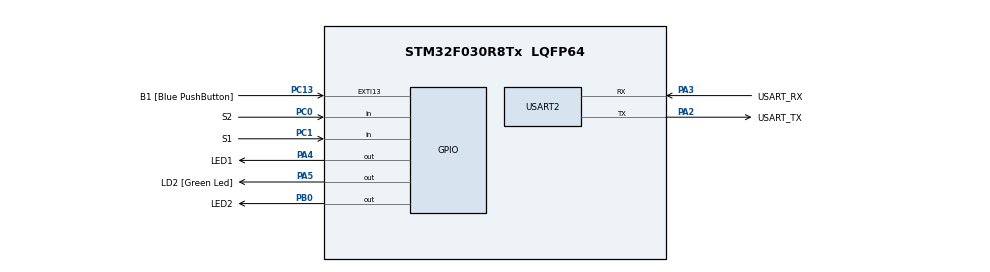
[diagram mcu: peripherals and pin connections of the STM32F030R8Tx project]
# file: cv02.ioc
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Mcu.Family=STM32F0
Mcu.Name=STM32F030R8Tx
Mcu.Package=LQFP64
PA13.GPIO_Label=TMS
PA13.Mode=Serial_Wire
PA13.Signal=SYS_SWDIO
PA14.GPIO_Label=TCK
PA14.Mode=Serial_Wire
PA14.Signal=SYS_SWCLK
PA2.GPIO_Label=USART_TX
PA2.GPIO_Mode=GPIO_MODE_AF_PP
PA2.GPIO_PuPd=GPIO_NOPULL
PA2.GPIO_Speed=GPIO_SPEED_FREQ_LOW
PA2.Mode=Asynchronous
PA2.Signal=USART2_TX
PA3.GPIO_Label=USART_RX
PA3.GPIO_Mode=GPIO_MODE_AF_PP
PA3.GPIO_PuPd=GPIO_NOPULL
PA3.GPIO_Speed=GPIO_SPEED_FREQ_LOW
PA3.Mode=Asynchronous
PA3.Signal=USART2_RX
PA4.GPIO_Label=LED1
PA4.Signal=GPIO_Output
PA5.GPIO_Label=LD2 [Green Led]
PA5.GPIO_Mode=GPIO_MODE_OUTPUT_PP
PA5.GPIO_PuPd=GPIO_NOPULL
PA5.GPIO_Speed=GPIO_SPEED_FREQ_LOW
PA5.Signal=GPIO_Output
PB0.GPIO_Label=LED2
PB0.Signal=GPIO_Output
PC0.GPIO_Label=S2
PC0.GPIO_PuPd=GPIO_PULLUP
PC0.Signal=GPIO_Input
PC1.GPIO_Label=S1
PC1.GPIO_PuPd=GPIO_PULLUP
PC1.Signal=GPIO_Input
PC13.GPIO_Label=B1 [Blue PushButton]
PC13.GPIO_ModeDefaultEXTI=GPIO_MODE_IT_FALLING
PC13.Signal=GPXTI13
PC14-OSC32_IN.Mode=LSE-External-Oscillator
PC14-OSC32_IN.Signal=RCC_OSC32_IN
PC15-OSC32_OUT.Mode=LSE-External-Oscillator
PC15-OSC32_OUT.Signal=RCC_OSC32_OUT
PF0-OSC_IN.Mode=HSE-External-Clock-Source
PF0-OSC_IN.Signal=RCC_OSC_IN
PF1-OSC_OUT.Signal=RCC_OSC_OUT
ProjectManager.HeapSize=0x200
ProjectManager.StackSize=0x400
ProjectManager.TargetToolchain=STM32CubeIDE
RCC.AHBFreq_Value=48000000
RCC.APB1Freq_Value=48000000
RCC.APB1TimFreq_Value=48000000
RCC.HCLKFreq_Value=48000000
RCC.PLLMUL=RCC_PLL_MUL12
RCC.SYSCLKFreq_VALUE=48000000
RCC.SYSCLKSource=RCC_SYSCLKSOURCE_PLLCLK
USART2.VirtualMode-Asynchronous=VM_ASYNC
board=NUCLEO-F030R8

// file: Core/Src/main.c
/* USER CODE BEGIN Header */
/**
 ******************************************************************************
 * @file           : main.c
 * @brief          : Main program body
 ******************************************************************************
 * @attention
 *
 * Copyright (c) 2024 STMicroelectronics.
 * All rights reserved.
 *
 * This software is licensed under terms that can be found in the LICENSE file
 * in the root directory of this software component.
 * If no LICENSE file comes with this software, it is provided AS-IS.
 *
 ******************************************************************************
 */
/* USER CODE END Header */
#include "main.h"

/* USER CODE BEGIN PD */
#define LED_TIME_BLINK 300
#define LED_TIME_SHORT 100
#define LED_TIME_LONG 1000
#define SAMPLING_PERIOD 5
/* USER CODE END PD */

/* USER CODE BEGIN PV */
volatile uint32_t Tick;
/* USER CODE END PV */

void SystemClock_Config(void);
static void MX_GPIO_Init(void);
static void MX_USART2_UART_Init(void);

/* USER CODE BEGIN 0 */
void blink(void)
{
	static uint32_t delay;

	if (Tick > delay + LED_TIME_BLINK) {
		LL_GPIO_TogglePin(LED2_GPIO_Port, LED2_Pin);
		delay = Tick;
	}
}

void button(void)
{
	static uint32_t old_s2;
	uint32_t new_s2 = LL_GPIO_IsInputPinSet(S2_GPIO_Port, S2_Pin);
	uint32_t s1 = LL_GPIO_IsInputPinSet(S1_GPIO_Port, S1_Pin);

	static uint32_t delay_button;
	static uint32_t off_time;
	static uint16_t debounce = 0xFFFF;

	if (Tick > off_time) {
		LL_GPIO_ResetOutputPin(LED1_GPIO_Port, LED1_Pin);
	}

	if (Tick > delay_button + SAMPLING_PERIOD) {
		debounce <<= 1;
		if (!s1) {
			debounce |= 0x0001;
		}
		if (debounce == 0x7FFF) { // falling edge
			off_time = Tick + LED_TIME_LONG;
			LL_GPIO_SetOutputPin(LED1_GPIO_Port, LED1_Pin);
		}

		if (old_s2 && !new_s2) { // falling edge
			off_time = Tick + LED_TIME_SHORT;
			LL_GPIO_SetOutputPin(LED1_GPIO_Port, LED1_Pin);
		}

		old_s2 = new_s2;

		delay_button = Tick;
	}
}
/* USER CODE END 0 */

int main(void) {

	/* MCU Configuration--------------------------------------------------------*/

	/* Reset of all peripherals, Initializes the Flash interface and the Systick. */
	LL_APB1_GRP2_EnableClock(LL_APB1_GRP2_PERIPH_SYSCFG);
	LL_APB1_GRP1_EnableClock(LL_APB1_GRP1_PERIPH_PWR);

	/* Configure the system clock */
	SystemClock_Config();

	/* Initialize all configured peripherals */
	MX_GPIO_Init();
	MX_USART2_UART_Init();
	/* USER CODE BEGIN 2 */
	LL_SYSTICK_EnableIT();
	/* USER CODE END 2 */

	/* Infinite loop */
	/* USER CODE BEGIN WHILE */
	while (1) {
		blink();
		button();
		/* USER CODE END WHILE */

	}
}

void SystemClock_Config(void) {
	LL_FLASH_SetLatency(LL_FLASH_LATENCY_1);
	while (LL_FLASH_GetLatency() != LL_FLASH_LATENCY_1) {
	}
	LL_RCC_HSI_Enable();

	/* Wait till HSI is ready */
	while (LL_RCC_HSI_IsReady() != 1) {

	}
	LL_RCC_HSI_SetCalibTrimming(16);
	LL_RCC_PLL_ConfigDomain_SYS(LL_RCC_PLLSOURCE_HSI_DIV_2, LL_RCC_PLL_MUL_12);
	LL_RCC_PLL_Enable();

	/* Wait till PLL is ready */
	while (LL_RCC_PLL_IsReady() != 1) {

	}
	LL_RCC_SetAHBPrescaler(LL_RCC_SYSCLK_DIV_1);
	LL_RCC_SetAPB1Prescaler(LL_RCC_APB1_DIV_1);
	LL_RCC_SetSysClkSource(LL_RCC_SYS_CLKSOURCE_PLL);

	/* Wait till System clock is ready */
	while (LL_RCC_GetSysClkSource() != LL_RCC_SYS_CLKSOURCE_STATUS_PLL) {

	}
	LL_Init1msTick(48000000);
	LL_SetSystemCoreClock(48000000);
}

static void MX_USART2_UART_Init(void) {

	LL_USART_InitTypeDef USART_InitStruct = { 0 };

	LL_GPIO_InitTypeDef GPIO_InitStruct = { 0 };

	/* Peripheral clock enable */
	LL_APB1_GRP1_EnableClock(LL_APB1_GRP1_PERIPH_USART2);

	LL_AHB1_GRP1_EnableClock(LL_AHB1_GRP1_PERIPH_GPIOA);
	/**USART2 GPIO Configuration
	 PA2   ------> USART2_TX
	 PA3   ------> USART2_RX
	 */
	GPIO_InitStruct.Pin = USART_TX_Pin;
	GPIO_InitStruct.Mode = LL_GPIO_MODE_ALTERNATE;
	GPIO_InitStruct.Speed = LL_GPIO_SPEED_FREQ_LOW;
	GPIO_InitStruct.OutputType = LL_GPIO_OUTPUT_PUSHPULL;
	GPIO_InitStruct.Pull = LL_GPIO_PULL_NO;
	GPIO_InitStruct.Alternate = LL_GPIO_AF_1;
	LL_GPIO_Init(USART_TX_GPIO_Port, &GPIO_InitStruct);

	GPIO_InitStruct.Pin = USART_RX_Pin;
	GPIO_InitStruct.Mode = LL_GPIO_MODE_ALTERNATE;
	GPIO_InitStruct.Speed = LL_GPIO_SPEED_FREQ_LOW;
	GPIO_InitStruct.OutputType = LL_GPIO_OUTPUT_PUSHPULL;
	GPIO_InitStruct.Pull = LL_GPIO_PULL_NO;
	GPIO_InitStruct.Alternate = LL_GPIO_AF_1;
	LL_GPIO_Init(USART_RX_GPIO_Port, &GPIO_InitStruct);

	USART_InitStruct.BaudRate = 38400;
	USART_InitStruct.DataWidth = LL_USART_DATAWIDTH_8B;
	USART_InitStruct.StopBits = LL_USART_STOPBITS_1;
	USART_InitStruct.Parity = LL_USART_PARITY_NONE;
	USART_InitStruct.TransferDirection = LL_USART_DIRECTION_TX_RX;
	USART_InitStruct.HardwareFlowControl = LL_USART_HWCONTROL_NONE;
	USART_InitStruct.OverSampling = LL_USART_OVERSAMPLING_16;
	LL_USART_Init(USART2, &USART_InitStruct);
	LL_USART_DisableIT_CTS(USART2);
	LL_USART_ConfigAsyncMode(USART2);
	LL_USART_Enable(USART2);

}

static void MX_GPIO_Init(void) {
	LL_EXTI_InitTypeDef EXTI_InitStruct = { 0 };
	LL_GPIO_InitTypeDef GPIO_InitStruct = { 0 };

	/* GPIO Ports Clock Enable */
	LL_AHB1_GRP1_EnableClock(LL_AHB1_GRP1_PERIPH_GPIOC);
	LL_AHB1_GRP1_EnableClock(LL_AHB1_GRP1_PERIPH_GPIOF);
	LL_AHB1_GRP1_EnableClock(LL_AHB1_GRP1_PERIPH_GPIOA);
	LL_AHB1_GRP1_EnableClock(LL_AHB1_GRP1_PERIPH_GPIOB);

	/**/
	LL_GPIO_ResetOutputPin(LED1_GPIO_Port, LED1_Pin);

	/**/
	LL_GPIO_ResetOutputPin(LD2_GPIO_Port, LD2_Pin);

	/**/
	LL_GPIO_ResetOutputPin(LED2_GPIO_Port, LED2_Pin);

	/**/
	LL_SYSCFG_SetEXTISource(LL_SYSCFG_EXTI_PORTC, LL_SYSCFG_EXTI_LINE13);

	/**/
	LL_GPIO_SetPinPull(B1_GPIO_Port, B1_Pin, LL_GPIO_PULL_NO);

	/**/
	LL_GPIO_SetPinMode(B1_GPIO_Port, B1_Pin, LL_GPIO_MODE_INPUT);

	/**/
	EXTI_InitStruct.Line_0_31 = LL_EXTI_LINE_13;
	EXTI_InitStruct.LineCommand = ENABLE;
	EXTI_InitStruct.Mode = LL_EXTI_MODE_IT;
	EXTI_InitStruct.Trigger = LL_EXTI_TRIGGER_FALLING;
	LL_EXTI_Init(&EXTI_InitStruct);

	/**/
	GPIO_InitStruct.Pin = S2_Pin;
	GPIO_InitStruct.Mode = LL_GPIO_MODE_INPUT;
	GPIO_InitStruct.Pull = LL_GPIO_PULL_UP;
	LL_GPIO_Init(S2_GPIO_Port, &GPIO_InitStruct);

	/**/
	GPIO_InitStruct.Pin = S1_Pin;
	GPIO_InitStruct.Mode = LL_GPIO_MODE_INPUT;
	GPIO_InitStruct.Pull = LL_GPIO_PULL_UP;
	LL_GPIO_Init(S1_GPIO_Port, &GPIO_InitStruct);

	/**/
	GPIO_InitStruct.Pin = LED1_Pin;
	GPIO_InitStruct.Mode = LL_GPIO_MODE_OUTPUT;
	GPIO_InitStruct.Speed = LL_GPIO_SPEED_FREQ_LOW;
	GPIO_InitStruct.OutputType = LL_GPIO_OUTPUT_PUSHPULL;
	GPIO_InitStruct.Pull = LL_GPIO_PULL_NO;
	LL_GPIO_Init(LED1_GPIO_Port, &GPIO_InitStruct);

	/**/
	GPIO_InitStruct.Pin = LD2_Pin;
	GPIO_InitStruct.Mode = LL_GPIO_MODE_OUTPUT;
	GPIO_InitStruct.Speed = LL_GPIO_SPEED_FREQ_LOW;
	GPIO_InitStruct.OutputType = LL_GPIO_OUTPUT_PUSHPULL;
	GPIO_InitStruct.Pull = LL_GPIO_PULL_NO;
	LL_GPIO_Init(LD2_GPIO_Port, &GPIO_InitStruct);

	/**/
	GPIO_InitStruct.Pin = LED2_Pin;
	GPIO_InitStruct.Mode = LL_GPIO_MODE_OUTPUT;
	GPIO_InitStruct.Speed = LL_GPIO_SPEED_FREQ_LOW;
	GPIO_InitStruct.OutputType = LL_GPIO_OUTPUT_PUSHPULL;
	GPIO_InitStruct.Pull = LL_GPIO_PULL_NO;
	LL_GPIO_Init(LED2_GPIO_Port, &GPIO_InitStruct);

}

void Error_Handler(void) {
	__disable_irq();
	while (1) {
	}
}
